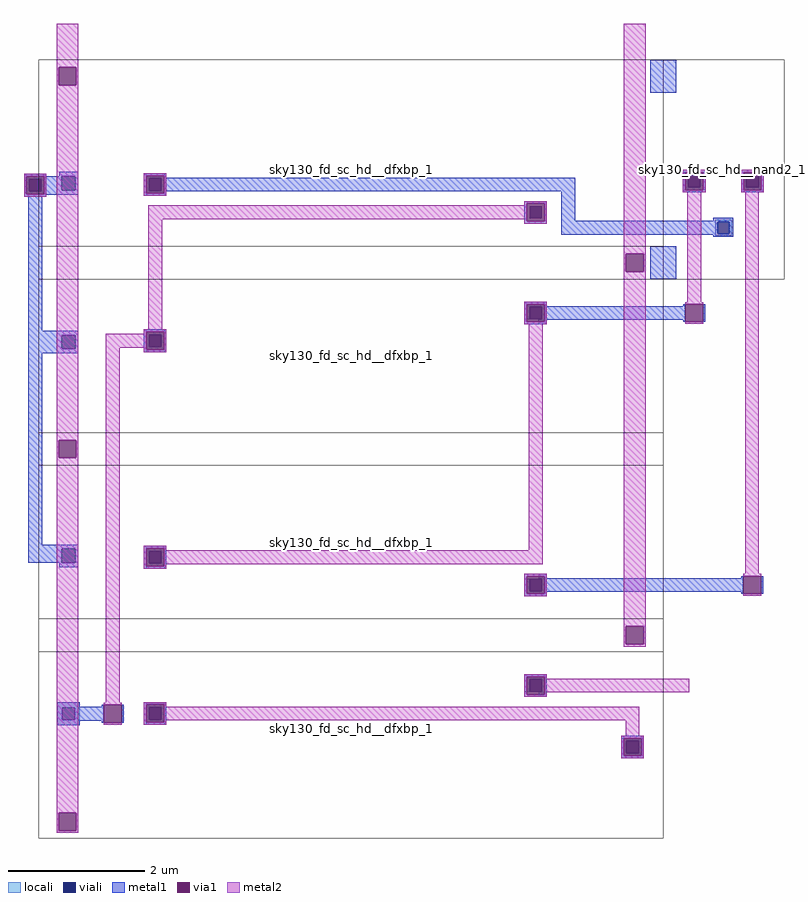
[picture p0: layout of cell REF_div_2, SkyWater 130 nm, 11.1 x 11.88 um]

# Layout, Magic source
magic
tech sky130A
magscale 1 2
<< locali >>
rect -81 244 -16 259
rect -81 208 -66 244
rect -30 208 -16 244
rect 274 246 330 261
rect -81 193 -16 208
rect 274 210 284 246
rect 320 210 330 246
rect 1843 256 1909 265
rect 1843 220 1858 256
rect 1894 220 1909 256
rect 1843 211 1909 220
rect 2013 256 2079 265
rect 2013 220 2028 256
rect 2064 220 2079 256
rect 2013 211 2079 220
rect 274 195 330 210
rect 1937 119 1985 125
rect 1937 85 1944 119
rect 1978 85 1985 119
rect 1937 78 1985 85
rect 1380 -129 1446 -114
rect 1380 -165 1395 -129
rect 1431 -165 1446 -129
rect 1421 -180 1446 -165
rect 274 -210 330 -195
rect 274 -246 284 -210
rect 320 -246 330 -210
rect 274 -261 330 -246
rect 274 -842 330 -827
rect 274 -878 284 -842
rect 320 -878 330 -842
rect 274 -893 330 -878
rect 1422 -923 1446 -908
rect 1380 -959 1395 -923
rect 1431 -959 1446 -923
rect 1380 -974 1446 -959
rect 1380 -1217 1446 -1202
rect 1380 -1253 1395 -1217
rect 1431 -1253 1446 -1217
rect 1422 -1268 1446 -1253
rect 16 -1299 82 -1284
rect 16 -1335 31 -1299
rect 67 -1335 82 -1299
rect 16 -1350 82 -1335
rect 274 -1298 330 -1283
rect 274 -1334 284 -1298
rect 320 -1334 330 -1298
rect 274 -1349 330 -1334
rect 1663 -1396 1729 -1387
rect 1663 -1432 1678 -1396
rect 1714 -1432 1729 -1396
rect 1663 -1447 1729 -1432
<< viali >>
rect -66 208 -30 244
rect 29 212 69 252
rect 284 210 320 246
rect 1858 220 1894 256
rect 2028 220 2064 256
rect 1395 129 1431 165
rect 1944 85 1978 119
rect 1395 -165 1431 -129
rect 29 -252 69 -212
rect 284 -246 320 -210
rect 29 -876 69 -836
rect 284 -878 320 -842
rect 1395 -959 1431 -923
rect 1395 -1253 1431 -1217
rect 31 -1335 67 -1299
rect 284 -1334 320 -1298
rect 1678 -1432 1714 -1396
<< metal1 >>
rect 1748 496 1824 592
rect -81 252 -16 259
rect 22 252 78 265
rect 1843 264 1909 271
rect -81 200 -74 252
rect -22 212 29 252
rect 69 212 78 252
rect -22 200 78 212
rect -81 199 78 200
rect 269 254 335 261
rect 269 202 276 254
rect 328 248 335 254
rect 328 208 1528 248
rect 328 202 335 208
rect -81 193 -16 199
rect 269 195 335 202
rect -68 -199 -28 193
rect 1380 173 1446 180
rect 1380 121 1387 173
rect 1439 121 1446 173
rect 1380 114 1446 121
rect 1488 122 1528 208
rect 1843 212 1850 264
rect 1902 212 1909 264
rect 1843 205 1909 212
rect 2013 264 2079 271
rect 2013 212 2020 264
rect 2072 212 2079 264
rect 2013 205 2079 212
rect 1932 122 1990 131
rect 1488 119 1990 122
rect 1488 85 1944 119
rect 1978 85 1990 119
rect 1488 82 1990 85
rect 1932 76 1990 82
rect 1748 -48 1824 48
rect 1380 -121 1446 -114
rect 1380 -173 1387 -121
rect 1439 -127 1446 -121
rect 1844 -127 1850 -121
rect 1439 -167 1850 -127
rect 1439 -173 1446 -167
rect 1844 -173 1850 -167
rect 1902 -173 1908 -121
rect 1380 -180 1446 -173
rect -68 -212 78 -199
rect -68 -252 29 -212
rect 69 -252 78 -212
rect -68 -265 78 -252
rect 269 -202 335 -195
rect 269 -254 276 -202
rect 328 -254 335 -202
rect 269 -261 335 -254
rect -68 -823 -28 -265
rect -68 -836 78 -823
rect -68 -876 29 -836
rect 69 -876 78 -836
rect 22 -889 78 -876
rect 269 -834 335 -827
rect 269 -886 276 -834
rect 328 -886 335 -834
rect 269 -893 335 -886
rect 1380 -915 1446 -908
rect 1380 -967 1387 -915
rect 1439 -921 1446 -915
rect 2013 -921 2019 -915
rect 1439 -961 2019 -921
rect 1439 -967 1446 -961
rect 2013 -967 2019 -961
rect 2071 -967 2077 -915
rect 1380 -974 1446 -967
rect 1380 -1209 1446 -1202
rect 1380 -1261 1387 -1209
rect 1439 -1261 1446 -1209
rect 1380 -1268 1446 -1261
rect 16 -1297 82 -1284
rect 269 -1290 335 -1283
rect 146 -1297 152 -1291
rect 16 -1299 152 -1297
rect 16 -1335 31 -1299
rect 67 -1335 152 -1299
rect 16 -1337 152 -1335
rect 16 -1350 82 -1337
rect 146 -1343 152 -1337
rect 204 -1343 210 -1291
rect 269 -1342 276 -1290
rect 328 -1342 335 -1290
rect 269 -1349 335 -1342
rect 1663 -1388 1729 -1381
rect 1663 -1440 1670 -1388
rect 1722 -1440 1729 -1388
rect 1663 -1447 1729 -1440
<< via1 >>
rect 20 518 72 570
rect -74 244 -22 252
rect -74 208 -66 244
rect -66 208 -30 244
rect -30 208 -22 244
rect -74 200 -22 208
rect 276 246 328 254
rect 276 210 284 246
rect 284 210 320 246
rect 320 210 328 246
rect 276 202 328 210
rect 1387 165 1439 173
rect 1387 129 1395 165
rect 1395 129 1431 165
rect 1431 129 1439 165
rect 1387 121 1439 129
rect 1850 256 1902 264
rect 1850 220 1858 256
rect 1858 220 1894 256
rect 1894 220 1902 256
rect 1850 212 1902 220
rect 2020 256 2072 264
rect 2020 220 2028 256
rect 2028 220 2064 256
rect 2064 220 2072 256
rect 2020 212 2072 220
rect 1676 -26 1728 26
rect 1387 -129 1439 -121
rect 1387 -165 1395 -129
rect 1395 -165 1431 -129
rect 1431 -165 1439 -129
rect 1387 -173 1439 -165
rect 1850 -173 1902 -121
rect 276 -210 328 -202
rect 276 -246 284 -210
rect 284 -246 320 -210
rect 320 -246 328 -210
rect 276 -254 328 -246
rect 20 -570 72 -518
rect 276 -842 328 -834
rect 276 -878 284 -842
rect 284 -878 320 -842
rect 320 -878 328 -842
rect 276 -886 328 -878
rect 1387 -923 1439 -915
rect 1387 -959 1395 -923
rect 1395 -959 1431 -923
rect 1431 -959 1439 -923
rect 1387 -967 1439 -959
rect 2019 -967 2071 -915
rect 1676 -1114 1728 -1062
rect 1387 -1217 1439 -1209
rect 1387 -1253 1395 -1217
rect 1395 -1253 1431 -1217
rect 1431 -1253 1439 -1217
rect 1387 -1261 1439 -1253
rect 152 -1343 204 -1291
rect 276 -1298 328 -1290
rect 276 -1334 284 -1298
rect 284 -1334 320 -1298
rect 320 -1334 328 -1298
rect 276 -1342 328 -1334
rect 1670 -1396 1722 -1388
rect 1670 -1432 1678 -1396
rect 1678 -1432 1714 -1396
rect 1714 -1432 1722 -1396
rect 1670 -1440 1722 -1432
rect 20 -1658 72 -1606
<< metal2 >>
rect 14 570 78 697
rect 14 518 20 570
rect 72 518 78 570
rect -81 252 -16 259
rect -81 200 -74 252
rect -22 200 -16 252
rect -81 193 -16 200
rect 14 -518 78 518
rect 269 254 335 261
rect 269 202 276 254
rect 328 202 335 254
rect 269 195 335 202
rect 1380 173 1446 180
rect 1380 167 1387 173
rect 282 127 1387 167
rect 282 -195 322 127
rect 1380 121 1387 127
rect 1439 121 1446 173
rect 1380 114 1446 121
rect 1670 26 1734 697
rect 1843 264 1909 271
rect 1843 212 1850 264
rect 1902 212 1909 264
rect 1843 205 1909 212
rect 2013 264 2079 271
rect 2013 212 2020 264
rect 2072 212 2079 264
rect 2013 205 2079 212
rect 1670 -26 1676 26
rect 1728 -26 1734 26
rect 1380 -121 1446 -114
rect 1380 -173 1387 -121
rect 1439 -173 1446 -121
rect 1380 -180 1446 -173
rect 269 -202 335 -195
rect 269 -208 276 -202
rect 14 -570 20 -518
rect 72 -570 78 -518
rect 14 -1606 78 -570
rect 158 -248 276 -208
rect 158 -1285 198 -248
rect 269 -254 276 -248
rect 328 -254 335 -202
rect 269 -261 335 -254
rect 269 -834 335 -827
rect 269 -886 276 -834
rect 328 -840 335 -834
rect 1393 -840 1433 -180
rect 328 -880 1433 -840
rect 328 -886 335 -880
rect 269 -893 335 -886
rect 1380 -915 1446 -908
rect 1380 -967 1387 -915
rect 1439 -967 1446 -915
rect 1380 -974 1446 -967
rect 1670 -1062 1734 -26
rect 1856 -115 1896 205
rect 1850 -121 1902 -115
rect 1850 -179 1902 -173
rect 2025 -909 2065 205
rect 2019 -915 2071 -909
rect 2019 -973 2071 -967
rect 1670 -1114 1676 -1062
rect 1728 -1114 1734 -1062
rect 1670 -1121 1734 -1114
rect 1380 -1209 1446 -1202
rect 1380 -1261 1387 -1209
rect 1439 -1215 1446 -1209
rect 1439 -1255 1861 -1215
rect 1439 -1261 1446 -1255
rect 1380 -1268 1446 -1261
rect 152 -1291 204 -1285
rect 152 -1349 204 -1343
rect 269 -1290 335 -1283
rect 269 -1342 276 -1290
rect 328 -1296 335 -1290
rect 328 -1336 1716 -1296
rect 328 -1342 335 -1336
rect 269 -1349 335 -1342
rect 1676 -1381 1716 -1336
rect 1663 -1388 1729 -1381
rect 1663 -1440 1670 -1388
rect 1722 -1440 1729 -1388
rect 1663 -1447 1729 -1440
rect 14 -1658 20 -1606
rect 72 -1658 78 -1606
rect 14 -1665 78 -1658
use sky130_fd_sc_hd__dfxbp_1  sky130_fd_sc_hd__dfxbp_1_0 pdk/sky130A/libs.ref/sky130_fd_sc_hd/mag
transform 1 0 0 0 1 0
box -38 -48 1786 592
use sky130_fd_sc_hd__dfxbp_1  sky130_fd_sc_hd__dfxbp_1_1
transform 1 0 0 0 -1 0
box -38 -48 1786 592
use sky130_fd_sc_hd__dfxbp_1  sky130_fd_sc_hd__dfxbp_1_2
transform 1 0 0 0 1 -1088
box -38 -48 1786 592
use sky130_fd_sc_hd__dfxbp_1  sky130_fd_sc_hd__dfxbp_1_3
transform 1 0 0 0 -1 -1088
box -38 -48 1786 592
use sky130_fd_sc_hd__nand2_1  sky130_fd_sc_hd__nand2_1_0 pdk/sky130A/libs.ref/sky130_fd_sc_hd/mag
transform 1 0 1824 0 1 0
box -38 -48 314 592
<< end >>
